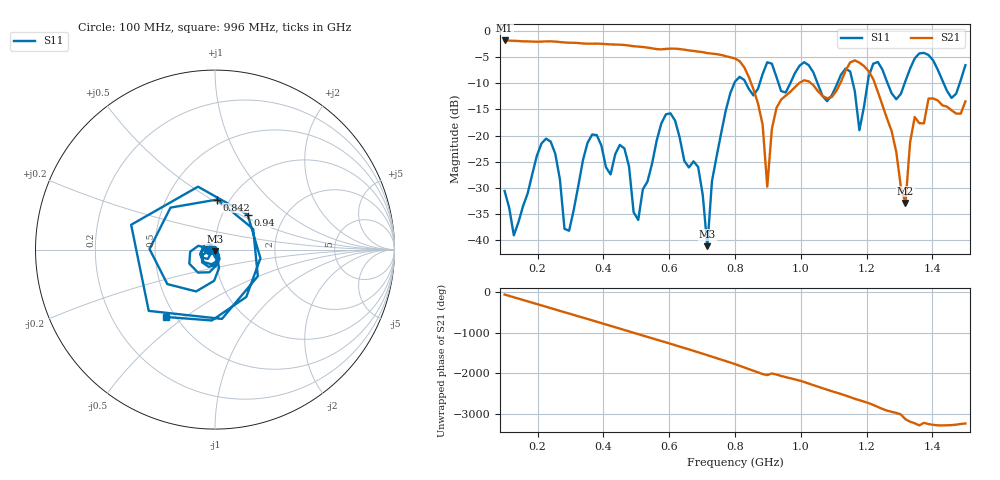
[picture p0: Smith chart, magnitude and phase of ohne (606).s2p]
! NanoVNA-App
! Date: 2025-09-25 14:25:31
! Start: 100MHz Stop: 1,5GHz Points: 101
! S-Parameter data: F S11 S21 S12 S22
# Hz S RI R 50
!  Frequency  S11_Real  S11_Imag  S21_Real  S21_Imag  S12_Real  S12_Imag  S22_Real  S22_Imag
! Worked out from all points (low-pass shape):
!   101 points, 100 MHz to 1.5 GHz, reference 50 ohm
!   highest |S21| = -1.79 dB at 100 MHz (marker M1); lowest = -32.9 dB at 1.318 GHz (marker M2)
!   |S21| within 3 dB of the highest: start of sweep to 771.4 MHz
!   lowest |S11| = -41.2 dB at 716 MHz (marker M3), VSWR 1.02, Z = 49.8 - j0.847 ohm
!   |S11| at or under -10 dB: start of sweep to 798 MHz; 833.3 MHz to 875.1 MHz (41.85 MHz wide, 4.9 % of centre); 1.051 GHz to 1.111 GHz (60.13 MHz wide, 5.56 % of centre) (the widest 3 of 7)
!   S12 and S22 are empty: the file has one direction only
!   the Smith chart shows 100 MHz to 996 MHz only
!   S11 on the Smith chart (normalised r, x): 100 MHz: 0.94, -0.01; 842 MHz: 0.88, +0.53; 940 MHz: 1.31, +0.55; 996 MHz: 0.44, -0.42
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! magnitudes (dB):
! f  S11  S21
! 100 MHz  -30.6  -1.8
! 128 MHz  -39.1  -1.9
! 226 MHz  -20.6  -2.0
! 296 MHz  -38.2  -2.2
! 338 MHz  -24.7  -2.4
! 464 MHz  -22.5  -2.7
! 506 MHz  -36.2  -3.0
! 576 MHz  -17.7  -3.5
! 688 MHz  -26.0  -3.9
! 716 MHz  -41.2  -4.2
! 800 MHz  -9.7  -5.3
! 842 MHz  -11.1  -8.8
! 898 MHz  -6.0  -29.8
! 940 MHz  -11.5  -13.1
! 996 MHz  -6.6  -9.9
! 1.038 GHz  -7.9  -10.4
! 1.178 GHz  -19.0  -6.1
! 1.22 GHz  -6.3  -9.2
! 1.276 GHz  -11.9  -19.2
! 1.318 GHz  -9.5  -32.9
! 1.346 GHz  -5.2  -16.5
! 1.5 GHz  -6.5  -13.5
